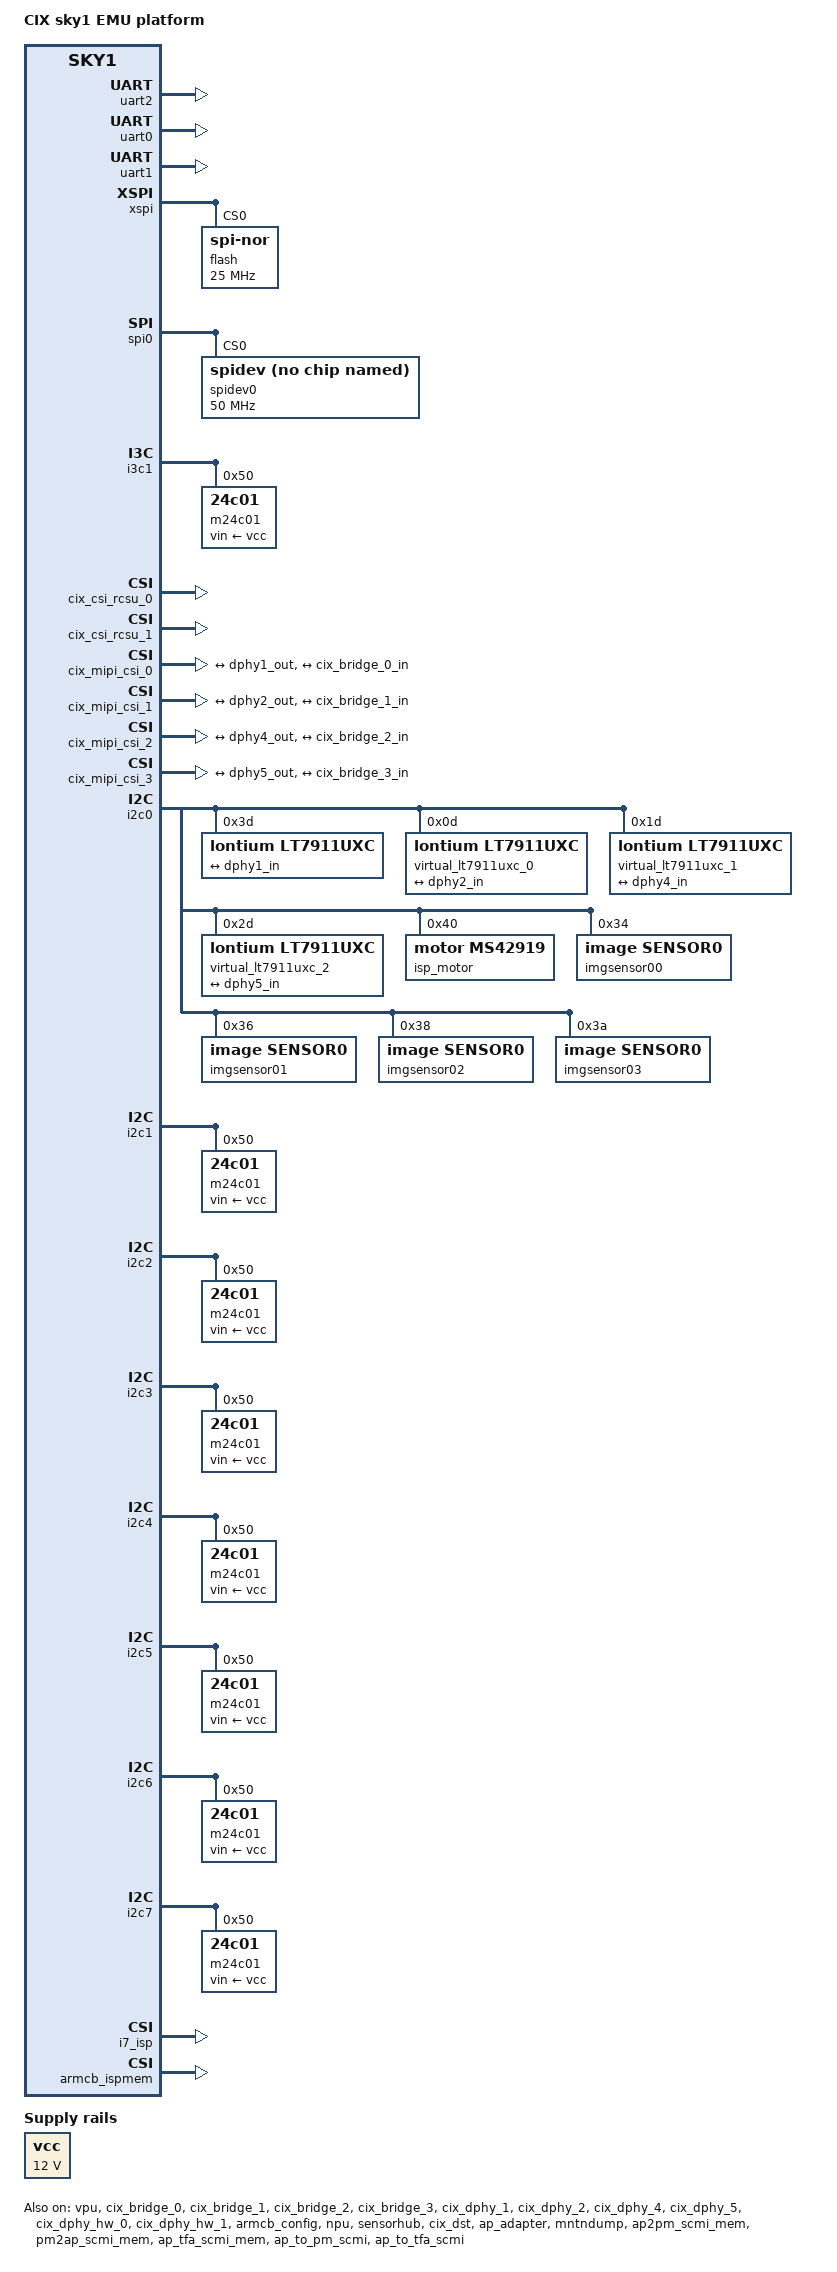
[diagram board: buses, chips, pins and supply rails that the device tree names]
/*
 * Copyright 2024 Cix Technology Group Co., Ltd.
 *
 * SPDX-License-Identifier: BSD-3-Clause
 */

/dts-v1/;
#define CONFIG_ARCH_CIX_EMU_FPGA

#include "sky1.dtsi"
/delete-node/ &reg_definition;

/ {
	model = "CIX sky1 EMU platform";
	compatible = "cix,sky1-emu", "cix,sky1";

	sound {
		compatible = "cix,sky1-sound-card";
		model = "cix,sky1";
		status = "disabled";

		i2s-sc0 {
			format = "dsp_a";
			frame-master = <&i2s_sc0>;
			bitclock-master = <&i2s_sc0>;
			bitclock-inversion;
			mclk-fs = <256>;

			dai-tdm-slot-tx-mask = <1 1 1 1>;
			dai-tdm-slot-rx-mask = <1 1 1 1>;
			dai-tdm-slot-num = <4>;
			dai-tdm-slot-width = <16>;

			i2s_sc0: cpu {
				sound-dai = <&i2s0>;
			};
		};

		i2s-mc0 {
			format = "i2s";
			bitclock-inversion;
			mclk-fs = <256>;

			cpu {
				sound-dai = <&i2s3 0>;
			};
		};

	};

	chosen {
		stdout-path = "serial2:921600n8";
	};

	virtual-encoder@0 {
		compatible = "cix,virtual-display";
		status = "disabled";

		port {
			vt_enc0_in: endpoint {
				remote-endpoint = <&dpu0_pipe0_out>;
			};
		};
	};

	virtual-encoder@1 {
		compatible = "cix,virtual-display";
		status = "disabled";

		port {
			vt_enc1_in: endpoint {
				remote-endpoint = <&dpu0_pipe1_out>;
			};
		};
	};

	virtual-encoder@2 {
		compatible = "cix,virtual-display";
		status = "disabled";

		port {
			vt_enc2_in: endpoint {
				remote-endpoint = <&dpu1_pipe0_out>;
			};
		};
	};

	virtual-encoder@3 {
		compatible = "cix,virtual-display";
		status = "disabled";

		port {
			vt_enc3_in: endpoint {
				remote-endpoint = <&dpu1_pipe1_out>;
			};
		};
	};

	virtual-encoder@4 {
		compatible = "cix,virtual-display";
		status = "disabled";

		port {
			vt_enc4_in: endpoint {
				remote-endpoint = <&dpu2_pipe0_out>;
			};
		};
	};

	virtual-encoder@5 {
		compatible = "cix,virtual-display";
		status = "disabled";

		port {
			vt_enc5_in: endpoint {
				remote-endpoint = <&dpu2_pipe1_out>;
			};
		};
	};

	virtual-encoder@6 {
		compatible = "cix,virtual-display";
		status = "disabled";

		port {
			vt_enc6_in: endpoint {
				remote-endpoint = <&dpu3_pipe0_out>;
			};
		};
	};

	virtual-encoder@7 {
		compatible = "cix,virtual-display";
		status = "disabled";

		port {
			vt_enc7_in: endpoint {
				remote-endpoint = <&dpu3_pipe1_out>;
			};
		};
	};

	virtual-encoder@8 {
		compatible = "cix,virtual-display";
		status = "disabled";

		port {
			vt_enc8_in: endpoint {
				remote-endpoint = <&dpu4_pipe0_out>;
			};
		};
	};

	virtual-encoder@9 {
		compatible = "cix,virtual-display";
		status = "disabled";

		port {
			vt_enc9_in: endpoint {
				remote-endpoint = <&dpu4_pipe1_out>;
			};
		};
	};

        soc@0 {
            uart2: uart@040d0000 {
                    compatible = "arm,pl011", "arm,primecell";
                    reg = <0x0 0x040d0000 0x0 0x1000>;
                    interrupts = <GIC_SPI 298 IRQ_TYPE_LEVEL_HIGH>;
                    clocks = <&uartclk>, <&uart_apb_pclk>;
                    clock-names = "uartclk", "apb_pclk";
                    status = "okay";
            };

	    vcc: eeprom{
        	 compatible = "regulator-fixed";
        	 regulator-name = "vcc";
        	 regulator-always-on;
        	 regulator-boot-on;
        	 regulator-min-microvolt = <12000000>;
        	 regulator-max-microvolt = <12000000>;
	    };

        };
};

&iomuxc_s5 {
	status = "okay";
	pinctrl_sfi_i2c0: pinctrl_sfi_i2c0_grp {
		sky1,pins = <
			0x00000070 0x0000005c
			0x00000074 0x0000005c
		>;
	};

	pinctrl_sfi_i2c1: pinctrl_sfi_i2c1_grp {
		sky1,pins = <
			0x00000078 0x00000057
			0x0000007c 0x00000057
		>;
	};

	pinctrl_sfi_i3c0: pinctrl_sfi_i3c0_grp {
		sky1,pins = <
			0x00000070 0x000000dc
			0x00000074 0x000000dc
			0x000000a0 0x00000157
		>;
	};

	pinctrl_sfi_i3c1: pinctrl_sfi_i3c1_grp {
		sky1,pins = <
			0x00000078 0x000000dc
			0x0000007c 0x000000dc
			0x000000a4 0x00000157
		>;
	};

	pinctrl_sfi_spi: pinctrl_sfi_spi_grp {
		sky1,pins = <
			0x00000078 0x00000157
			0x0000007c 0x00000157
			0x00000080 0x000000d7
			0x00000084 0x000000d7
			0x00000088 0x000000d7
		>;
	};

	pinctrl_fch_spi0: pinctrl_fch_spi0_grp {
		sky1,pins = <
			0x000000a8 0x0000005c
			0x000000ac 0x0000005c
			0x000000b0 0x0000005c
			0x000000b4 0x0000005c
			0x000000b8 0x0000005c
		>;
	};

	pinctrl_fch_xspi: pinctrl_fch_xspi_grp {
                sky1,pins = <
                        0x000000f0 0x000000dc
                        0x000000f4 0x000000dc
                        0x000000f8 0x000000dc
                        0x000000fc 0x000000dc
                        0x00000100 0x000000dc
                        0x00000104 0x000000dc
                >;
        };
};

&iomuxc {
	status = "okay";
	pinctrl_fch_pwm0: pinctrl_fch_pwm0 {
		sky1,pins = <
			0x0000013c 0x000000b7
		>;
	};

	pinctrl_fch_pwm1: pinctrl_fch_pwm1 {
		sky1,pins = <
			0x00000140 0x000000b7
		>;
	};

	pinctrl_fch_fan0: pinctrl_fch_fan0 {
		sky1,pins = <
			0x0000014c 0x000000b7
		>;
	};

	pinctrl_fch_fan1: pinctrl_fch_fan1 {
		sky1,pins = <
			0x00000154 0x000000b7
		>;
	};

	pinctrl_fch_fan2: pinctrl_fch_fan2 {
		sky1,pins = <
			0x00000144 0x000000b7
		>;
	};

	pinctrl_fch_i2c0: pinctrl_fch_i2c0 {
		sky1,pins = <
			0x00000078 0x00000047
			0x0000007c 0x00000047
		>;
	};

	pinctrl_fch_i2c1: pinctrl_fch_i2c1 {
		sky1,pins = <
			0x00000080 0x00000047
			0x00000084 0x00000047
		>;
	};

	pinctrl_fch_i2c2: pinctrl_fch_i2c2 {
		sky1,pins = <
			0x00000088 0x0000005c
			0x0000008c 0x0000005c
		>;
	};

	pinctrl_fch_i2c3: pinctrl_fch_i2c3 {
		sky1,pins = <
			0x00000094 0x0000005c
			0x00000098 0x0000005c
		>;
	};

	pinctrl_fch_i2c4: pinctrl_fch_i2c4 {
		sky1,pins = <
			0x000000a0 0x00000047
			0x000000a4 0x00000047
		>;
	};

	pinctrl_fch_i2c5: pinctrl_fch_i2c5 {
		sky1,pins = <
			0x00000068 0x00000047
			0x0000006c 0x00000047
		>;
	};

	pinctrl_fch_i2c6: pinctrl_fch_i2c6 {
		sky1,pins = <
			0x00000070 0x00000047
			0x00000074 0x00000047
		>;
	};

	pinctrl_fch_i2c7: pinctrl_fch_i2c7 {
		sky1,pins = <
			0x00000054 0x00000047
			0x00000058 0x00000047
		>;
	};

	pinctrl_fch_spi1: pinctrl_fch_spi1_grp {
		sky1,pins = <
			0x000001e8 0x0000013c
			0x000001ec 0x0000013c
			0x000001f0 0x0000013c
			0x000001f4 0x0000013c
			0x000001f8 0x0000013c
		>;
	};

	pinctrl_fch_i3c0: pinctrl_fch_i3c0 {
		sky1,pins = <
			0x00000088 0x000000dc
			0x0000008c 0x000000dc
			0x00000090 0x000000dc
		>;
	};

	pinctrl_fch_i3c1: pinctrl_fch_i3c1 {
		sky1,pins = <
			0x00000094 0x000000dc
			0x00000098 0x000000dc
			0x0000009c 0x000000dc
		>;
	};

	pinctrl_fch_uart0: pinctrl_fch_uart0 {
		sky1,pins = <
			0x0000013c 0x00000037
			0x00000140 0x00000037
			0x00000144 0x00000037
			0x00000148 0x00000037
		>;
	};

	pinctrl_fch_uart1: pinctrl_fch_uart1 {
                sky1,pins = <
                        0x0000014c 0x00000037
                        0x00000150 0x00000037
                        0x00000154 0x00000037
                        0x00000158 0x00000037
                >;
        };

	pinctrl_fch_uart2: pinctrl_fch_uart2 {
                sky1,pins = <
                        0x0000015c 0x00000027
                        0x00000160 0x00000027
                        0x00000164 0x00000027
                        0x00000168 0x00000027
                >;
        };
};

&pwm0 {
	pinctrl-names = "default";
	pinctrl-0 = <&pinctrl_fch_pwm0>;
	status = "disabled";
};

&pwm1 {
	pinctrl-names = "default";
	pinctrl-0 = <&pinctrl_fch_pwm1>;
	status = "disabled";
};

&sky1_usbss_0 {
	sof_clk_freq = <8000000>;
	lpm_clk_freq = <32000>;
	status = "disabled";
};

&usbss_0 {
	status = "disabled";
	dr_mode = "host";
};

&sky1_usbss_1 {
	sof_clk_freq = <8000000>;
	lpm_clk_freq = <32000>;
	status = "disabled";
};

&usbss_1 {
	status = "disabled";
	dr_mode = "host";
};

&sky1_usbss_2 {
	sof_clk_freq = <8000000>;
	lpm_clk_freq = <32000>;
	status = "disabled";
};

&usbss_2 {
	status = "disabled";
	dr_mode = "host";
};

&sky1_usbss_3 {
	sof_clk_freq = <8000000>;
	lpm_clk_freq = <32000>;
	status = "disabled";
};

&usbss_3 {
	status = "disabled";
	dr_mode = "host";
};

&sky1_usbss_4 {
	sof_clk_freq = <8000000>;
	lpm_clk_freq = <32000>;
	status = "disabled";
};

&usbss_4 {
	status = "disabled";
	dr_mode = "host";
};

&sky1_usbss_5 {
	sof_clk_freq = <8000000>;
	lpm_clk_freq = <32000>;
	status = "disabled";
};

&usbss_5 {
	status = "disabled";
	dr_mode = "host";
};

&sky1_usbhs_0 {
	sof_clk_freq = <8000000>;
	lpm_clk_freq = <32000>;
	status = "disabled";
};

&usbhs_0 {
	status = "disabled";
	dr_mode = "host";
};

&sky1_usbhs_1 {
	sof_clk_freq = <8000000>;
	lpm_clk_freq = <32000>;
	status = "disabled";
};

&usbhs_1 {
	status = "disabled";
	dr_mode = "host";
};

&sky1_usbhs_2 {
	sof_clk_freq = <8000000>;
	lpm_clk_freq = <32000>;
	status = "disabled";
};

&usbhs_2 {
	status = "disabled";
	dr_mode = "host";
};

&sky1_usbhs_3 {
	sof_clk_freq = <8000000>;
	lpm_clk_freq = <32000>;
	status = "disabled";
};

&usbhs_3 {
	status = "disabled";
	dr_mode = "host";
};

&uart0{
	status = "okay";
	pinctrl-names = "default";
	pinctrl-0 = <&pinctrl_fch_uart0>;
        dmas = <&fch_dmac 2 0>, <&fch_dmac 3 1>;
        dma-names = "tx","rx";
};

&uart1{
	status = "okay";
	pinctrl-names = "default";
	pinctrl-0 = <&pinctrl_fch_uart1>;
        dmas = <&fch_dmac 4 2>, <&fch_dmac 5 3>;
        dma-names = "tx","rx";
};

&uart2{
	status = "okay";
	pinctrl-names = "default";
	pinctrl-0 = <&pinctrl_fch_uart2>;
};

&xspi{
	pinctrl-names = "default";
        pinctrl-0 = <&pinctrl_fch_xspi>;
	flash@0 {
		compatible = "jedec,spi-nor";
		reg = <0>;
		spi-rx-bus-width = <4>;
		spi-max-frequency = <25000000>;
	};
};

&spi0{
	status = "okay";
	pinctrl-names = "default";
	pinctrl-0 = <&pinctrl_fch_spi0>;
	spidev0:spi@0{
		compatible = "rohm,dh2228fv";
		reg = <0>;
		spi-max-frequency = <50000000>;
	};
};

&spi1{
	status = "disabled";
	pinctrl-names = "default";
	pinctrl-0 = <&pinctrl_fch_spi1>;
	spidev1:spi@0{
		compatible = "rohm,dh2228fv";
		reg = <0>;
		spi-max-frequency = <50000000>;
	};
};


&i3c0{
	status = "disabled";
	pinctrl-names = "default";
	pinctrl-0 = <&pinctrl_fch_i3c0>;
	m24c01@50 {
		compatible = "24c01";
		reg = <0x50 0 0x10>;
		vin-supply = <&vcc>;
  	};
};

&i3c1{
	pinctrl-names = "default";
	pinctrl-0 = <&pinctrl_fch_i3c1>;
	m24c01@50 {
		compatible = "24c01";
		reg = <0x50 0 0x10>;
		vin-supply = <&vcc>;
  	};
};


&hifi5 {
	status = "disabled";
};

&mbox_dsp2ap {
	status = "disabled";
};

&mbox_ap2dsp {
	status = "disabled";
};

&audss_cru {
	status = "disabled";
};

&audss_dmac {
	memory-region = <&audio_alsa>;
	status = "disabled";
};

&i2s0 {
	/* i2s_sc0 for codec */
	dmas = <&audss_dmac 0 0>, <&audss_dmac 1 1>;
	dma-names = "tx", "rx";
	status = "disabled";
};

&i2s1 {
	/* i2s_sc1 for 5G/BT */
	dmas = <&audss_dmac 2 2>, <&audss_dmac 3 3>;
	dma-names = "tx", "rx";
	status = "disabled";
};

&i2s2 {
	/* i2s_sc2 for loopback */
	status = "disabled";
};

&i2s3 {
	/* i2s_mc2a for speaker */
	dmas = <&audss_dmac 4 6>;
	dma-names = "tx";
	status = "disabled";
};

&i2s4 {
	/* i2s_mc2b for dp-in */
	dmas = <&audss_dmac 6 9>;
	dma-names = "rx";
	status = "disabled";
};

&i2s5 {
	/* i2s_mc5a for dp-out */
	dmas = <&audss_dmac 7 10>;
	dma-names = "tx";
	cdns,pin-rx-mask = /bits/ 8 <0>; /* 0x00, zero pin as receiver */
	cdns,pin-tx-mask = /bits/ 8 <15>; /* 0x0f, pin0-pin3 works as transmitter */
	status = "disabled";
};

&i2s6 {
	/* i2s_mc5b for dp-out */
	dmas = <&audss_dmac 7 12>;
	dma-names = "tx";
	cdns,pin-rx-mask = /bits/ 8 <0>; /* 0x00, zero pin as receiver */
	cdns,pin-tx-mask = /bits/ 8 <15>; /* 0x0f, pin0-pin3 works as transmitter */
	status = "disabled";
};

&i2s7 {
	/* i2s_mc5c for dp-out */
	dmas = <&audss_dmac 7 14>;
	dma-names = "tx";
	cdns,pin-rx-mask = /bits/ 8 <0>; /* 0x00, zero pin as receiver */
	cdns,pin-tx-mask = /bits/ 8 <15>; /* 0x0f, pin0-pin3 works as transmitter */
	status = "disabled";
};

&i2s8 {
	/* i2s_mc5d for dp-out */
	dmas = <&audss_dmac 7 16>;
	dma-names = "tx";
	cdns,pin-rx-mask = /bits/ 8 <0>; /* 0x00, zero pin as receiver */
	cdns,pin-tx-mask = /bits/ 8 <15>; /* 0x0f, pin0-pin3 works as transmitter */
	status = "disabled";
};

&i2s9 {
	/* i2s_mc5e for dp-out */
	dmas = <&audss_dmac 7 18>;
	dma-names = "tx";
	cdns,pin-rx-mask = /bits/ 8 <0>; /* 0x00, zero pin as receiver */
	cdns,pin-tx-mask = /bits/ 8 <15>; /* 0x0f, pin0-pin3 works as transmitter */
	status = "disabled";
};

&dp2 {
	status = "disabled";

	cix,platform-id = <1>;
	cix,aux-clock-divider = <15>;
	port {
		dp2_in: endpoint {
			remote-endpoint = <&dpu2_pipe0_out>;
		};
	};
};

&dpu0 {
	status = "disabled";

	pipeline@0 {
		port {
			dpu0_pipe0_out: endpoint {
				remote-endpoint = <&vt_enc0_in>;
			};
		};
	};

	pipeline@1 {
		port {
			dpu0_pipe1_out: endpoint {
				remote-endpoint = <&vt_enc1_in>;
			};
		};
	};
};

&dpu1 {
	status = "disabled";

	pipeline@0 {
		port {
			dpu1_pipe0_out: endpoint {
				remote-endpoint = <&vt_enc2_in>;
			};
		};
	};

	pipeline@1 {
		port {
			dpu1_pipe1_out: endpoint {
				remote-endpoint = <&vt_enc3_in>;
			};
		};
	};
};

&dpu2 {
	status = "disabled";

	pipeline@0 {
		port {
			dpu2_pipe0_out: endpoint {
				remote-endpoint = <&vt_enc4_in>;
			};
		};
	};

	pipeline@1 {
		port {
			dpu2_pipe1_out: endpoint {
				remote-endpoint = <&vt_enc5_in>;
			};
		};
	};
};

&dpu3 {
	status = "disabled";

	pipeline@0 {
		port {
			dpu3_pipe0_out: endpoint {
				remote-endpoint = <&vt_enc6_in>;
			};
		};
	};

	pipeline@1 {
		port {
			dpu3_pipe1_out: endpoint {
				remote-endpoint = <&vt_enc7_in>;
			};
		};
	};
};

&dpu4 {
	status = "disabled";

	pipeline@0 {
		port {
			dpu4_pipe0_out: endpoint {
				remote-endpoint = <&vt_enc8_in>;
			};
		};
	};

	pipeline@1 {
		port {
			dpu4_pipe1_out: endpoint {
				remote-endpoint = <&vt_enc9_in>;
			};
		};
	};
};

&uartclk {
	clock-frequency = <25000000>;
};

&uart_apb_pclk {
	clock-frequency = <25000000>;
};

&pmu {
	status = "okay";
};

&smmu_mmhub{
	status = "okay";
};

&smmu_pciehub{
	status = "disabled";
};

&vpu {
	status = "okay";
};

&cix_csi_rcsu_0 {
	status = "okay";
};

&cix_csi_rcsu_1 {
	status = "okay";
};

&cix_bridge_0 {
	status = "okay";
	port {
		cix_bridge_0_in: endpoint {
			remote-endpoint = <&mipi_csi2_0_out>;
		};
	};
};

&cix_bridge_1 {
	status = "okay";
	port {
		cix_bridge_1_in: endpoint {
			remote-endpoint = <&mipi_csi2_1_out>;
		};
	};
};

&cix_bridge_2 {
	status = "okay";
	port {
		cix_bridge_2_in: endpoint {
			remote-endpoint = <&mipi_csi2_2_out>;
		};
	};
};

&cix_bridge_3 {
	status = "okay";
	port {
		cix_bridge_3_in: endpoint {
			remote-endpoint = <&mipi_csi2_3_out>;
		};
	};
};

&cix_mipi_csi_0 {
	lanes = <1>;
	status = "okay";
	ports {
		#address-cells = <1>;
		#size-cells = <0>;
		port@0 {
			reg = <0>;
			#address-cells = <1>;
			#size-cells = <0>;
			mipi_csi2_0_in: endpoint@1 {
				reg = <1>;
				remote-endpoint = <&dphy1_out>;
			};
		};
		port@1 {
			reg = <1>;
			#address-cells = <1>;
			#size-cells = <0>;
			mipi_csi2_0_out: endpoint@0 {
				reg = <0>;
				remote-endpoint = <&cix_bridge_0_in>;
			};
		};
	};
};

&cix_mipi_csi_1 {
	lanes = <1>;
	status = "okay";
	ports {
		#address-cells = <1>;
		#size-cells = <0>;
		port@0 {
			reg = <0>;
			#address-cells = <1>;
			#size-cells = <0>;
			mipi_csi2_1_in: endpoint@1 {
				reg = <1>;
				remote-endpoint = <&dphy2_out>;
			};
		};
		port@1 {
			reg = <1>;
			#address-cells = <1>;
			#size-cells = <0>;
			mipi_csi2_1_out: endpoint@0 {
				reg = <0>;
				remote-endpoint = <&cix_bridge_1_in>;
			};
		};
	};
};

&cix_mipi_csi_2 {
	lanes = <1>;
	status = "okay";
	ports {
		#address-cells = <1>;
		#size-cells = <0>;
		port@0 {
			reg = <0>;
			#address-cells = <1>;
			#size-cells = <0>;
			mipi_csi2_2_in: endpoint@1 {
				reg = <1>;
				remote-endpoint = <&dphy4_out>;
			};
		};
		port@1 {
			reg = <1>;
			#address-cells = <1>;
			#size-cells = <0>;
			mipi_csi2_2_out: endpoint@0 {
				reg = <0>;
				remote-endpoint = <&cix_bridge_2_in>;
			};
		};
	};
};

&cix_mipi_csi_3 {
	lanes = <1>;
	status = "okay";
	ports {
		#address-cells = <1>;
		#size-cells = <0>;
		port@0 {
			reg = <0>;
			#address-cells = <1>;
			#size-cells = <0>;
			mipi_csi2_3_in: endpoint@1 {
				reg = <1>;
				remote-endpoint = <&dphy5_out>;
			};
		};
		port@1 {
			reg = <1>;
			#address-cells = <1>;
			#size-cells = <0>;
			mipi_csi2_3_out: endpoint@0 {
			   reg = <0>;
			   remote-endpoint = <&cix_bridge_3_in>;
			};
		};
	};
};

&cix_dphy_0 {
	status = "disabled";
	#address-cells = <1>;
	#size-cells = <0>;
	ports {
		#address-cells = <1>;
		#size-cells = <0>;
		port@0 {
			reg = <0>;
			#address-cells = <1>;
			#size-cells = <0>;
			dphy0_in: endpoint@1 {
				reg = <1>;
				remote-endpoint = <&lt7911uxc_out>;
				data-lanes = <1 2 3 4>;
				clock-lanes = <0>;
			};
		};
		port@1 {
			reg = <1>;
			#address-cells = <1>;
			#size-cells = <0>;
			dphy0_out: endpoint@0 {
				reg = <0>;
				remote-endpoint = <&mipi_csi2_0_in>;
			};
		};
	};
};

&cix_dphy_1 {
	status = "okay";
	#address-cells = <1>;
	#size-cells = <0>;
	ports {
		#address-cells = <1>;
		#size-cells = <0>;
		port@0 {
			reg = <0>;
			#address-cells = <1>;
			#size-cells = <0>;
			dphy1_in: endpoint@1 {
				reg = <1>;
				remote-endpoint = <&lt7911uxc_out>;
				data-lanes = <1 2 3 4>;
				clock-lanes = <0>;
			};
		};

		port@1 {
			reg = <1>;
			#address-cells = <1>;
			#size-cells = <0>;
			dphy1_out: endpoint@0 {
				reg = <0>;
				remote-endpoint = <&mipi_csi2_0_in>;
			};
		};
	};
};

&cix_dphy_2 {
	status = "okay";
	#address-cells = <1>;
	#size-cells = <0>;
	ports {
		#address-cells = <1>;
		#size-cells = <0>;
		port@0 {
			reg = <0>;
			#address-cells = <1>;
			#size-cells = <0>;
			dphy2_in: endpoint@1 {
				reg = <1>;
				remote-endpoint = <&virt_lt7911uxc_0_out>;
				data-lanes = <1 2 3 4>;
				clock-lanes = <0>;
			};
		};
		port@1 {
			reg = <1>;
			#address-cells = <1>;
			#size-cells = <0>;
			dphy2_out: endpoint@0 {
				reg = <0>;
				remote-endpoint = <&mipi_csi2_1_in>;
			};
		};
	};

};

&cix_dphy_3 {
	status = "disabled";
	#address-cells = <1>;
	#size-cells = <0>;
	ports {
		#address-cells = <1>;
		#size-cells = <0>;
		port@0 {
			reg = <0>;
			#address-cells = <1>;
			#size-cells = <0>;
			dphy3_in: endpoint@1 {
				reg = <1>;
				/*this not active*/
				remote-endpoint = <&lt7911uxc_out>;
				data-lanes = <1 2 3 4>;
				clock-lanes = <0>;
			};
		};
		port@1 {
			reg = <1>;
			#address-cells = <1>;
			#size-cells = <0>;
			dphy3_out: endpoint@0 {
				reg = <0>;
				remote-endpoint = <&mipi_csi2_2_in>;
			};
		};
	};
};

&cix_dphy_4 {
	status = "okay";
	#address-cells = <1>;
	#size-cells = <0>;
	ports {
		#address-cells = <1>;
		#size-cells = <0>;
		port@0 {
			reg = <0>;
			#address-cells = <1>;
			#size-cells = <0>;
			dphy4_in: endpoint@1 {
				reg = <1>;
				remote-endpoint = <&virt_lt7911uxc_1_out>;
				data-lanes = <1 2 3 4>;
				clock-lanes = <0>;
			};
		};

		port@1 {
			reg = <1>;
			#address-cells = <1>;
			#size-cells = <0>;
			dphy4_out: endpoint@0 {
				reg = <0>;
				remote-endpoint = <&mipi_csi2_2_in>;
			};
		};
	};
};

&cix_dphy_5 {
	status = "okay";
	#address-cells = <1>;
	#size-cells = <0>;
	ports {
		#address-cells = <1>;
		#size-cells = <0>;
		port@0 {
			reg = <0>;
			#address-cells = <1>;
			#size-cells = <0>;
			dphy5_in: endpoint@1 {
				reg = <1>;
				remote-endpoint = <&virt_lt7911uxc_2_out>;
				data-lanes = <1 2 3 4>;
				clock-lanes = <0>;
			};
		};
		port@1 {
			reg = <1>;
			#address-cells = <1>;
			#size-cells = <0>;
			dphy5_out: endpoint@0 {
				reg = <0>;
				remote-endpoint = <&mipi_csi2_3_in>;
			};
		};
	};
};

&cix_dphy_hw_0 {
	status = "okay";
};

&cix_dphy_hw_1 {
	status = "okay";
};

&i2c0 {
	status = "okay";
	pinctrl-names = "default";
	pinctrl-0 = <&pinctrl_fch_i2c0>;

	lt7911uxc: lt7911uxc@3d {
		compatible = "lontium,lt7911uxc";
		#address-cells = <1>;
		#size-cells = <0>;
		reg = <0x3d>;
		status = "okay";
		port {
			lt7911uxc_out: endpoint {
				remote-endpoint = <&dphy1_in>;
				data-lanes = <4>;
				clock-lanes = <0>;
			};
		};
	};

	virtual_lt7911uxc_0: virtual_lt7911uxc_0@0d {
		compatible = "lontium,lt7911uxc";
		#address-cells = <1>;
		#size-cells = <0>;
		reg = <0x0d>;
		status = "okay";
		port {
			virt_lt7911uxc_0_out: endpoint {
				remote-endpoint = <&dphy2_in>;
				data-lanes = <4>;
				clock-lanes = <0>;
			};
		};
	};

	virtual_lt7911uxc_1: virtual_lt7911uxc_1@1d {
		compatible = "lontium,lt7911uxc";
		#address-cells = <1>;
		#size-cells = <0>;
		reg = <0x1d>;
		status = "okay";
		port {
			virt_lt7911uxc_1_out: endpoint {
				remote-endpoint = <&dphy4_in>;
				data-lanes = <4>;
				clock-lanes = <0>;
			};
		};
	};

	virtual_lt7911uxc_2: virtual_lt7911uxc_2@2d {
		compatible = "lontium,lt7911uxc";
		#address-cells = <1>;
		#size-cells = <0>;
		reg = <0x2d>;
		status = "okay";
		port {
			virt_lt7911uxc_2_out: endpoint {
				remote-endpoint = <&dphy5_in>;
				data-lanes = <4>;
				clock-lanes = <0>;
			};
		};
	};

	isp_motor: motor0@40 {
		compatible = "motor,ms42919";
		#address-cells = <1>;
		#size-cells = <0>;
		reg = <0x40>;
		pi-max-frequency = <124999999>;
		status = "okay";
	};

	imgsensor00: imgsensor0@34 {
		compatible = "image,sensor0";
		#address-cells = <1>;
		#size-cells = <0>;
		reg = <0x34>;
		actuator-src = <&isp_motor>;
		isp-src = <&i7_isp>;
		status = "okay";
	};

	imgsensor01: imgsensor0@36 {
		compatible = "image,sensor0";
		#address-cells = <1>;
		#size-cells = <0>;
		reg = <0x36>;
		isp-src = <&i7_isp_fake1>;
		status = "okay";
	};

	imgsensor02: imgsensor0@38 {
		compatible = "image,sensor0";
		#address-cells = <1>;
		#size-cells = <0>;
		reg = <0x38>;
		isp-src = <&i7_isp_fake2>;
		status = "okay";
	};

	imgsensor03: imgsensor0@3a {
		compatible = "image,sensor0";
		#address-cells = <1>;
		#size-cells = <0>;
		reg = <0x3a>;
		isp-src = <&i7_isp_fake3>;
		status = "okay";
	};
};

&i2c1{
	status = "okay";
	pinctrl-names = "default";
	pinctrl-0 = <&pinctrl_fch_i2c1>;
	m24c01@50 {
		compatible = "24c01";
		reg = <0x50>;
		vin-supply = <&vcc>;
	};
};

&i2c2{
	pinctrl-names = "default";
	pinctrl-0 = <&pinctrl_fch_i2c2>;
	m24c01@50 {
		compatible = "24c01";
		reg = <0x50>;
		vin-supply = <&vcc>;
	};
};

&i2c3{
	pinctrl-names = "default";
	pinctrl-0 = <&pinctrl_fch_i2c3>;
	m24c01@50 {
		compatible = "24c01";
		reg = <0x50>;
		vin-supply = <&vcc>;
	};
};


&i2c4{
	status = "okay";
	pinctrl-names = "default";
	pinctrl-0 = <&pinctrl_fch_i2c4>;
	m24c01@50 {
		compatible = "24c01";
		reg = <0x50>;
		vin-supply = <&vcc>;
	};
};

&i2c5{
	status = "okay";
	pinctrl-names = "default";
	pinctrl-0 = <&pinctrl_fch_i2c5>;
	m24c01@50 {
		compatible = "24c01";
		reg = <0x50>;
		vin-supply = <&vcc>;
	};
};

&i2c6{
	status = "okay";
	pinctrl-names = "default";
	pinctrl-0 = <&pinctrl_fch_i2c6>;
	m24c01@50 {
		compatible = "24c01";
		reg = <0x50>;
		vin-supply = <&vcc>;
	};
};

&i2c7{
	status = "okay";
	pinctrl-names = "default";
	pinctrl-0 = <&pinctrl_fch_i2c7>;
	m24c01@50 {
		compatible = "24c01";
		reg = <0x50>;
		vin-supply = <&vcc>;
	};
};

&i7_isp {
	status = "okay";
};

&armcb_config {
	status = "okay";
};

&armcb_ispmem {
	status = "okay";
};

&npu {
	status = "okay";
};

&sensorhub {
	memory-region = <&sfh_vdev0buffer>, <&sfh_vdev0vring0>,
			<&sfh_vdev0vring1>, <&sfh_ram>;
	status = "okay";
};

&macb0 {
	status = "disabled";
	local-mac-address = [3a 0e 03 04 05 06];
	phy-handle = <&mac_phy0>;
	phy-mode = "fixed";
	fixed-link {
		speed = <1000>;
		full-duplex;
	};
	mac_phy0: phy@1 {
		forced-link-speed = <1000>;
		forced-link-duplex = <1>;
		force-link = <1>;
	};
};

&macb1 {
	status = "disabled";
	local-mac-address = [3a 0e 03 04 05 08];
	phy-handle = <&mac_phy1>;
	phy-mode = "fixed";
	fixed-link {
		speed = <1000>;
		full-duplex;
	};
	mac_phy1: phy@2 {
		forced-link-speed = <1000>;
		forced-link-duplex = <1>;
		force-link = <1>;
	};
};

&its_pcie {
        status = "disabled";
};

&pcie_x8_rc {
	plat-emu;
	status = "disabled";
};

&pcie_x4_rc {
	plat-emu;
	status = "disabled";
};

&pcie_x2_rc {
	plat-emu;
	status = "disabled";
};

&pcie_x1_1_rc {
	plat-emu;
	status = "disabled";
};

&pcie_x1_0_rc {
	plat-emu;
	status = "disabled";
};

&watchdog {
        status = "disabled";
};

&cix_dst {
	status = "okay";
};

&ap_adapter {
	status = "okay";
};

&mntndump {
	status = "okay";
};

&mbox_ap2pm {
    status = "okay";
};

&mbox_pm2ap {
    status = "okay";
};

&ap2pm_scmi_mem {
    status = "okay";
};

&pm2ap_scmi_mem {
    status = "okay";
};

&ap_tfa_scmi_mem {
    status = "okay";
};

&ap_to_pm_scmi {
    status = "okay";
};

&ap_to_tfa_scmi {
    status = "okay";
};

&thermal_zones {
	cpu-m1-thermal {
		polling-delay-passive = <250>;
		polling-delay = <1000>;
		thermal-sensors = <&scmi_sensor CPU_M1_TEMP_SENSOR_ID>;

		trips {
			m1_trip0: trip-point-0 {
				temperature = <85000>;
				hysteresis = <1000>;
				type = "passive";
			};
		};

		cooling-maps {
			map0 {
				trip = <&m1_trip0>;
				cooling-device = <&CPU6 THERMAL_NO_LIMIT THERMAL_NO_LIMIT>;
			};
		};
	};

	cpu-b1-thermal {
		polling-delay-passive = <250>;
		polling-delay = <1000>;
		thermal-sensors = <&scmi_sensor CPU_B1_TEMP_SENSOR_ID>;

		trips {
			b1_trip0: trip-point-0 {
				temperature = <85000>;
				hysteresis = <1000>;
				type = "passive";
			};
		};

		cooling-maps {
			map0 {
				trip = <&b1_trip0>;
				cooling-device = <&CPU10 THERMAL_NO_LIMIT THERMAL_NO_LIMIT>;
			};
		};
	};

	cpu-m0-thermal {
		polling-delay-passive = <250>;
		polling-delay = <1000>;
		thermal-sensors = <&scmi_sensor CPU_M0_TEMP_SENSOR_ID>;

		trips {
			m0_trip0: trip-point-0 {
				temperature = <85000>;
				hysteresis = <1000>;
				type = "passive";
			};
		};

		cooling-maps {
			map0 {
				trip = <&m0_trip0>;
				cooling-device = <&CPU4 THERMAL_NO_LIMIT THERMAL_NO_LIMIT>;
			};
		};
	};

	cpu-b0-thermal {
		polling-delay-passive = <250>;
		polling-delay = <1000>;
		thermal-sensors = <&scmi_sensor CPU_B0_TEMP_SENSOR_ID>;

		trips {
			b0_trip0: trip-point-0 {
				temperature = <85000>;
				hysteresis = <1000>;
				type = "passive";
			};
		};

		cooling-maps {
			map0 {
				trip = <&b0_trip0>;
				cooling-device = <&CPU8 THERMAL_NO_LIMIT THERMAL_NO_LIMIT>;
			};
		};
	};
};
